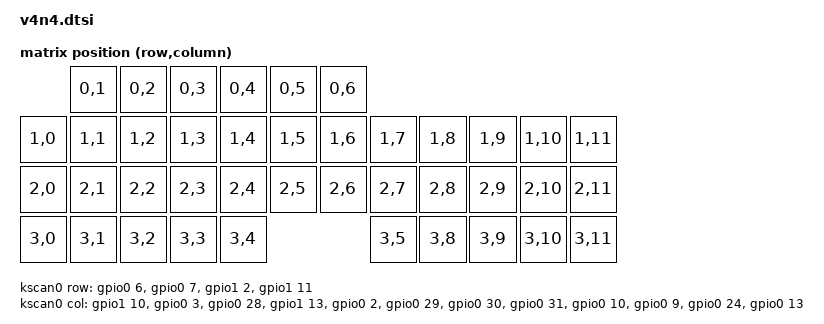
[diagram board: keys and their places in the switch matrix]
/*
 * Copyright (c) 2021 The ZMK Contributors
 *
 * SPDX-License-Identifier: MIT
 */

#include <dt-bindings/zmk/matrix_transform.h>
#include <dt-bindings/led/led.h>

/ {
    chosen {
        zmk,kscan = &kscan0;
        zmk,matrix_transform = &default_transform;
        zephyr,display = &oled;
        zmk,underglow = &led_strip;
    };

    default_transform: keymap_transform_0 {
        compatible = "zmk,matrix-transform";
        columns = <12>;
        rows = <5>;
        map = <
                    RC(0,1) RC(0,2) RC(0,3) RC(0,4) RC(0,5) RC(0,6)         
            RC(1,0) RC(1,1) RC(1,2) RC(1,3) RC(1,4) RC(1,5) RC(1,6) RC(1,7) RC(1,8) RC(1,9) RC(1,10) RC(1,11)
            RC(2,0) RC(2,1) RC(2,2) RC(2,3) RC(2,4) RC(2,5) RC(2,6) RC(2,7) RC(2,8) RC(2,9) RC(2,10) RC(2,11)
            RC(3,0) RC(3,1) RC(3,2) RC(3,3) RC(3,4) RC(3,5)                 RC(3,8) RC(3,9) RC(3,10)RC(3,11)
                    >;
    };

    kscan0: kscan {
        compatible = "zmk,kscan-gpio-matrix";

        diode-direction = "col2row";
		col-gpios
			= <&gpio1 10 GPIO_ACTIVE_HIGH>
			, <&gpio0  3 GPIO_ACTIVE_HIGH>
			, <&gpio0 28 GPIO_ACTIVE_HIGH>
			, <&gpio1 13 GPIO_ACTIVE_HIGH>
            , <&gpio0  2 GPIO_ACTIVE_HIGH>
			, <&gpio0 29 GPIO_ACTIVE_HIGH>
			, <&gpio0 30 GPIO_ACTIVE_HIGH>
            , <&gpio0 31 GPIO_ACTIVE_HIGH>
			, <&gpio0 10 GPIO_ACTIVE_HIGH>
			, <&gpio0  9 GPIO_ACTIVE_HIGH>
			, <&gpio0 24 GPIO_ACTIVE_HIGH>
			, <&gpio0 13 GPIO_ACTIVE_HIGH>
			;
		row-gpios
			= <&gpio0 6 (GPIO_ACTIVE_HIGH | GPIO_PULL_DOWN)>
			, <&gpio0 7 (GPIO_ACTIVE_HIGH | GPIO_PULL_DOWN)>
			, <&gpio1 2  (GPIO_ACTIVE_HIGH | GPIO_PULL_DOWN)>
			, <&gpio1 11 (GPIO_ACTIVE_HIGH | GPIO_PULL_DOWN)>
			;

    };

    ext-power {
        compatible = "zmk,ext-power-generic";
        label = "EXT_POWER";
        control-gpios = <&gpio1 9 GPIO_ACTIVE_HIGH>;
         init-delay-ms = <50>;
    };

     vbatt: vbatt {
        compatible = "zmk,battery-nrf-vddh";
    };

};

&pinctrl {

    spi3_default: spi3_default {
        group1 {
            psels = <NRF_PSEL(SPIM_MOSI, 0, 5)>; // WS2812_VEXT_DATA
        };
    };

    spi3_sleep: spi3_sleep {
        group1 {
            psels = <NRF_PSEL(SPIM_MOSI, 0, 5)>;
            low-power-enable;
        };
    };
};

&i2c0 {
	status = "okay";

	compatible = "nordic,nrf-twi";
    pinctrl-0 = <&i2c0_default>;
    pinctrl-1 = <&i2c0_sleep>;
	oled: ssd1306@3c {
        compatible = "solomon,ssd1306fb";
        reg = <0x3c>;
        width = <128>;
        height = <32>;
        segment-offset = <0>;
        page-offset = <0>;
        display-offset = <0>;
        multiplex-ratio = <31>;
        segment-remap;
        com-invdir;
        com-sequential;
        inversion-on;
        prechargep = <0x22>;
	};
};

&uart0 {
	status = "disabled";
};
&spi3 {
	compatible = "nordic,nrf-spim";
	status = "okay";

	pinctrl-0 = <&spi3_default>;
	pinctrl-1 = <&spi3_sleep>;
	pinctrl-names = "default", "sleep";


	led_strip: ws2812@0 {
		compatible = "worldsemi,ws2812-spi";
		label = "WS2812";

		/* SPI */
		reg = <0>; /* ignored, but necessary for SPI bindings */
		spi-max-frequency = <4000000>;

		/* WS2812 */
		chain-length = <3>; /* There are per-key RGB, but the first 6 are underglow */
		spi-one-frame = <0x70>;
		spi-zero-frame = <0x40>;
		color-mapping = <LED_COLOR_ID_GREEN LED_COLOR_ID_RED LED_COLOR_ID_BLUE>;
	};
};

